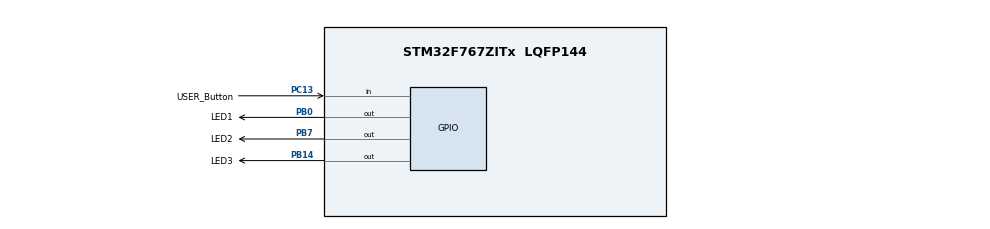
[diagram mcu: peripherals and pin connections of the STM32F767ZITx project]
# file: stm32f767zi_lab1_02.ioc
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Mcu.Family=STM32F7
Mcu.Name=STM32F767ZITx
Mcu.Package=LQFP144
NVIC.PriorityGroup=NVIC_PRIORITYGROUP_4
PB0.GPIO_Label=LED1
PB0.Signal=GPIO_Output
PB14.GPIO_Label=LED3
PB14.Signal=GPIO_Output
PB7.GPIO_Label=LED2
PB7.Signal=GPIO_Output
PC13.GPIO_Label=USER_Button
PC13.Signal=GPIO_Input
ProjectManager.HeapSize=0x200
ProjectManager.StackSize=0x400
ProjectManager.TargetToolchain=STM32CubeIDE
RCC.HSE_VALUE=25000000
RCC.HSI_VALUE=16000000
RCC.LSE_VALUE=32768
RCC.USBFreq_Value=96000000
RCC.VCOOutputFreq_Value=192000000
board=custom

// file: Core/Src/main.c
/* USER CODE BEGIN Header */
/**
  ******************************************************************************
  * @file           : main.c
  * @brief          : Main program body
  ******************************************************************************
  * @attention
  *
  * Copyright (c) 2024 STMicroelectronics.
  * All rights reserved.
  *
  * This software is licensed under terms that can be found in the LICENSE file
  * in the root directory of this software component.
  * If no LICENSE file comes with this software, it is provided AS-IS.
  *
  ******************************************************************************
  */
/* USER CODE END Header */
#include "main.h"

/* USER CODE BEGIN PV */
uint32_t sensor_1 = 166;
uint32_t sensor_2 = 564;
uint32_t sensor_3 = 155;

/* USER CODE END PV */

void SystemClock_Config(void);
static void MX_GPIO_Init(void);

int main(void)
{

  /* MCU Configuration--------------------------------------------------------*/

  /* Reset of all peripherals, Initializes the Flash interface and the Systick. */
  HAL_Init();

  /* Configure the system clock */
  SystemClock_Config();

  /* Initialize all configured peripherals */
  MX_GPIO_Init();
  /* USER CODE BEGIN 2 */
int t = 1000;
  /* USER CODE END 2 */

  /* Infinite loop */
  /* USER CODE BEGIN WHILE */
  while (1)
  {
	  //нет проверки отпускания кнопки -> при долгом нажатии кнопки состояния меняются
	  while(!HAL_GPIO_ReadPin(GPIOC, USER_Button_Pin)){
		  //
	  }
	  HAL_Delay(t);
	  while(!HAL_GPIO_ReadPin(GPIOC, USER_Button_Pin)){
	  		  //
	  	  }
	  if ((sensor_1 > 150)&&(sensor_2>200)){
		  HAL_GPIO_WritePin(GPIOB, LED3_Pin, SET);//red led
	  }
	  HAL_Delay(t);
	  while(!HAL_GPIO_ReadPin(GPIOC, USER_Button_Pin)){
		  //
	  }
	  HAL_Delay(t);
	  while(!HAL_GPIO_ReadPin(GPIOC, USER_Button_Pin)){
	  		  //
	  	  }
	  if ((sensor_3>100)&&(sensor_3<200)){
		  HAL_GPIO_WritePin(GPIOB, LED1_Pin, SET);//green led
	  }
	  HAL_Delay(t);
	  while(!HAL_GPIO_ReadPin(GPIOC, USER_Button_Pin)){
		  //
	  }
	  HAL_Delay(t);
	  while(!HAL_GPIO_ReadPin(GPIOC, USER_Button_Pin)){
	  		  //
	  	  }
	  if ((sensor_1<100)&&(sensor_2<100)&&(sensor_3<100)){
		  HAL_GPIO_WritePin(GPIOB, LED2_Pin, SET);//blue led
	  }
	  else {
		  HAL_GPIO_WritePin(GPIOB, LED2_Pin, RESET);
	  }
	  HAL_Delay(t);
    /* USER CODE END WHILE */

  }
}

void SystemClock_Config(void)
{
  RCC_OscInitTypeDef RCC_OscInitStruct = {0};
  RCC_ClkInitTypeDef RCC_ClkInitStruct = {0};

  /** Configure the main internal regulator output voltage
  */
  __HAL_RCC_PWR_CLK_ENABLE();
  __HAL_PWR_VOLTAGESCALING_CONFIG(PWR_REGULATOR_VOLTAGE_SCALE3);

  /** Initializes the RCC Oscillators according to the specified parameters
  * in the RCC_OscInitTypeDef structure.
  */
  RCC_OscInitStruct.OscillatorType = RCC_OSCILLATORTYPE_HSI;
  RCC_OscInitStruct.HSIState = RCC_HSI_ON;
  RCC_OscInitStruct.HSICalibrationValue = RCC_HSICALIBRATION_DEFAULT;
  RCC_OscInitStruct.PLL.PLLState = RCC_PLL_NONE;
  if (HAL_RCC_OscConfig(&RCC_OscInitStruct) != HAL_OK)
  {
    Error_Handler();
  }

  /** Initializes the CPU, AHB and APB buses clocks
  */
  RCC_ClkInitStruct.ClockType = RCC_CLOCKTYPE_HCLK|RCC_CLOCKTYPE_SYSCLK
                              |RCC_CLOCKTYPE_PCLK1|RCC_CLOCKTYPE_PCLK2;
  RCC_ClkInitStruct.SYSCLKSource = RCC_SYSCLKSOURCE_HSI;
  RCC_ClkInitStruct.AHBCLKDivider = RCC_SYSCLK_DIV1;
  RCC_ClkInitStruct.APB1CLKDivider = RCC_HCLK_DIV1;
  RCC_ClkInitStruct.APB2CLKDivider = RCC_HCLK_DIV1;

  if (HAL_RCC_ClockConfig(&RCC_ClkInitStruct, FLASH_LATENCY_0) != HAL_OK)
  {
    Error_Handler();
  }
}

static void MX_GPIO_Init(void)
{
  GPIO_InitTypeDef GPIO_InitStruct = {0};

  /* GPIO Ports Clock Enable */
  __HAL_RCC_GPIOC_CLK_ENABLE();
  __HAL_RCC_GPIOB_CLK_ENABLE();

  /*Configure GPIO pin Output Level */
  HAL_GPIO_WritePin(GPIOB, LED1_Pin|LED3_Pin|LED2_Pin, GPIO_PIN_RESET);

  /*Configure GPIO pin : USER_Button_Pin */
  GPIO_InitStruct.Pin = USER_Button_Pin;
  GPIO_InitStruct.Mode = GPIO_MODE_INPUT;
  GPIO_InitStruct.Pull = GPIO_NOPULL;
  HAL_GPIO_Init(USER_Button_GPIO_Port, &GPIO_InitStruct);

  /*Configure GPIO pins : LED1_Pin LED3_Pin LED2_Pin */
  GPIO_InitStruct.Pin = LED1_Pin|LED3_Pin|LED2_Pin;
  GPIO_InitStruct.Mode = GPIO_MODE_OUTPUT_PP;
  GPIO_InitStruct.Pull = GPIO_NOPULL;
  GPIO_InitStruct.Speed = GPIO_SPEED_FREQ_LOW;
  HAL_GPIO_Init(GPIOB, &GPIO_InitStruct);

}

void Error_Handler(void)
{
  __disable_irq();
  while (1)
  {
  }
}
